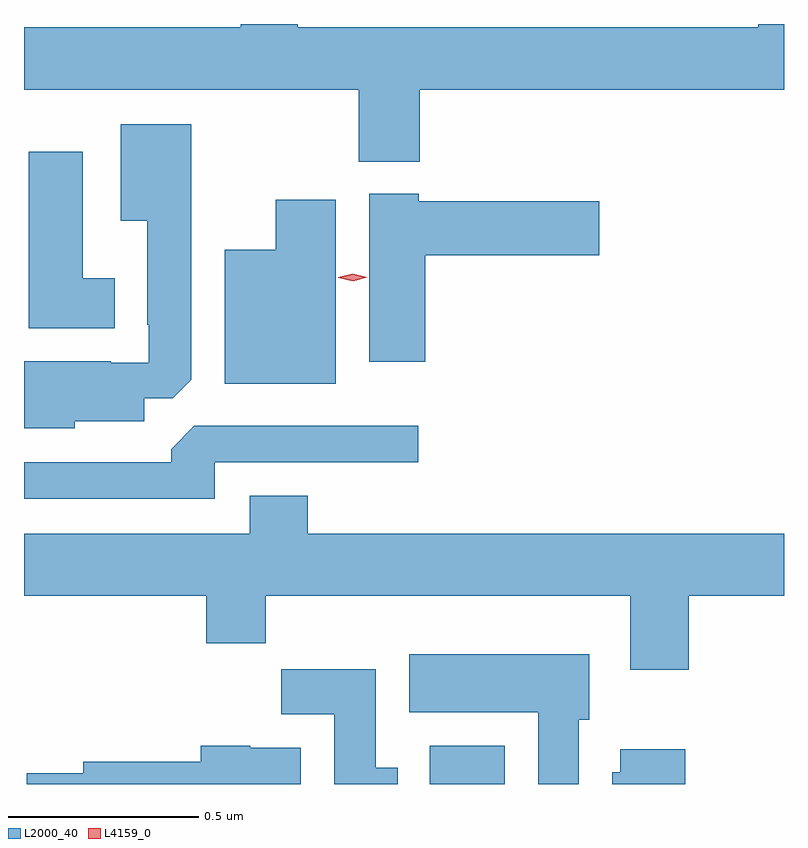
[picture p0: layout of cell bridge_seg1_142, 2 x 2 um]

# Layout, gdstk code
import gdstk
lib = gdstk.Library(unit=1e-6, precision=1e-09)
def R(c, l, rs):  # rectangles x0, y0, x1, y1
    for r in rs: c.add(gdstk.rectangle(r[:2], r[2:], *l))
def P(c, l, *ps):  # polygons
    for p in ps: c.add(gdstk.Polygon(p, *l))
L2000_40 = (2000, 40)
L4159_0 = (4159, 0)

bridge_seg1_142 = lib.new_cell('bridge_seg1_142')
R(bridge_seg1_142, L2000_40, [(426.803,549.905,427,550.006)])
P(bridge_seg1_142, L2000_40, [(426.776,551.732),(427.735,551.732),(427.735,551.905),(427.667,551.905),(427.667,551.896),(426.456,551.896),(426.456,551.905),(426.305,551.905),(426.305,551.896),(425.735,551.896),(425.735,551.732),(426.616,551.732),(426.616,551.543),(426.776,551.543)],
  [(425.868,550.859),(426.052,550.859),(426.052,550.92),(426.126,550.92),(426.175,550.969),(426.175,551.641),(425.99,551.641),(425.99,551.387),(426.059,551.387),(426.059,551.113),(426.063,551.113),(426.063,551.013),(425.963,551.013),(425.963,551.017),(425.735,551.017),(425.735,550.841),(425.868,550.841)],
  [(425.974,551.236),(425.89,551.236),(425.89,551.569),(425.747,551.569),(425.747,551.105),(425.974,551.105)],
  [(426.791,551.297),(427.249,551.297),(427.249,551.439),(426.774,551.439),(426.774,551.458),(426.644,551.458),(426.644,551.016),(426.791,551.016)],
  [(426.556,551.443),(426.398,551.443),(426.398,551.311),(426.263,551.311),(426.263,550.958),(426.556,550.958)],
  [(426.237,550.752),(426.772,550.752),(426.772,550.848),(426.183,550.848),(426.122,550.786),(426.122,550.752),(425.735,550.752),(425.735,550.656),(426.237,550.656)],
  [(427.484,550.4),(427.735,550.4),(427.735,550.564),(426.482,550.564),(426.482,550.663),(426.329,550.663),(426.329,550.564),(425.735,550.564),(425.735,550.4),(426.215,550.4),(426.215,550.276),(426.371,550.276),(426.371,550.4),(427.331,550.4),(427.331,550.206),(427.484,550.206)],
  [(427.195,550.074),(427.222,550.074),(427.222,550.246),(426.749,550.246),(426.749,550.094),(427.088,550.094),(427.088,549.905),(427.195,549.905)],
  [(426.718,549.948),(426.661,549.948),(426.661,550.207),(426.412,550.207),(426.412,550.088),(426.551,550.088),(426.551,549.905),(426.718,549.905)],
  [(426.463,550),(426.33,550),(426.33,550.006),(426.2,550.006),(426.2,549.963),(425.891,549.963),(425.891,549.933),(425.742,549.933),(425.742,549.905),(426.463,549.905)],
  [(427.475,549.997),(427.304,549.997),(427.304,549.936),(427.283,549.936),(427.283,549.905),(427.475,549.905)])
P(bridge_seg1_142, L4159_0, [(426.601,551.228),(426.562,551.237),(426.562,551.237),(426.562,551.238),(426.6,551.248),(426.638,551.239),(426.638,551.239),(426.638,551.238)])

lib.write_gds('bridge_seg1_142.gds')
